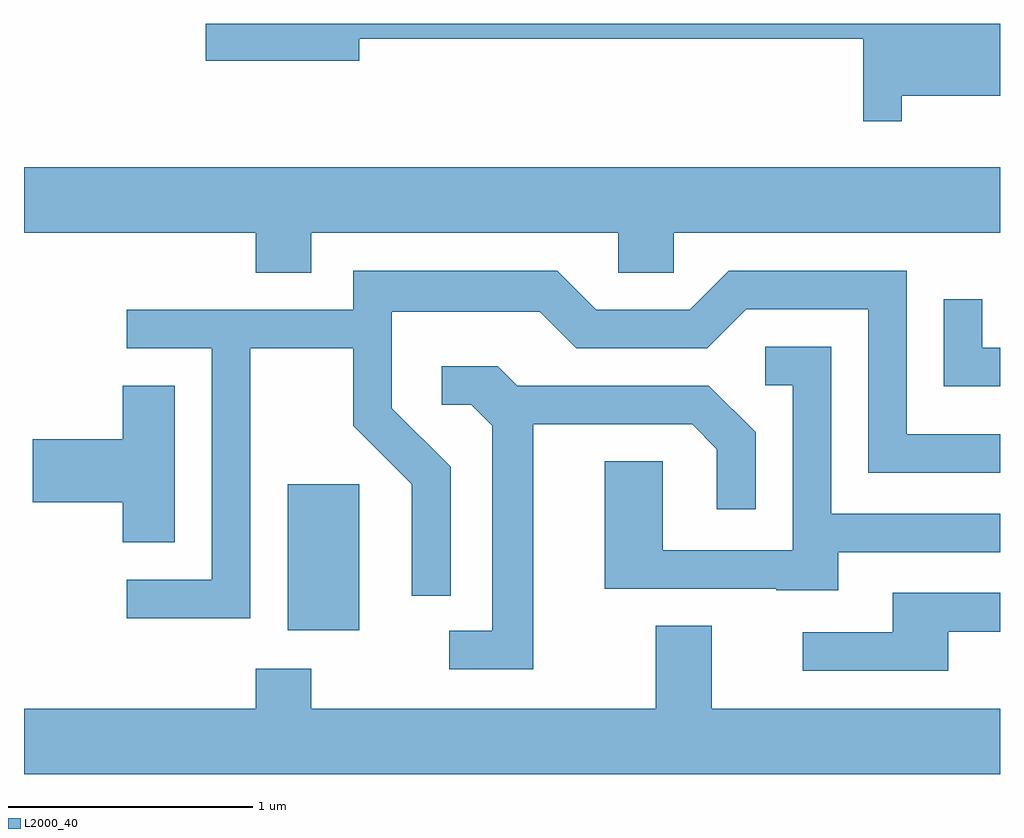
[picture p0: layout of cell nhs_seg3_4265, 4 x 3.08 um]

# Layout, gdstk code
import gdstk
lib = gdstk.Library(unit=1e-6, precision=1e-09)
def R(c, l, rs):  # rectangles x0, y0, x1, y1
    for r in rs: c.add(gdstk.rectangle(r[:2], r[2:], *l))
def P(c, l, *ps):  # polygons
    for p in ps: c.add(gdstk.Polygon(p, *l))
L2000_40 = (2000, 40)

nhs_seg3_4265 = lib.new_cell('nhs_seg3_4265')
R(nhs_seg3_4265, L2000_40, [(310.691,1215.406,310.984,1216.004)])
P(nhs_seg3_4265, L2000_40, [(313.209,1217.596),(313.611,1217.596),(313.611,1217.892),(310.356,1217.892),(310.356,1217.741),(310.984,1217.741),(310.984,1217.831),(313.051,1217.831),(313.051,1217.493),(313.209,1217.493)],
  [(310.789,1217.036),(312.046,1217.036),(312.046,1216.871),(312.274,1216.871),(312.274,1217.036),(313.611,1217.036),(313.611,1217.304),(309.611,1217.304),(309.611,1217.036),(310.561,1217.036),(310.561,1216.871),(310.789,1216.871)],
  [(310.539,1216.561),(310.961,1216.561),(310.961,1216.244),(311.201,1216.004),(311.201,1215.548),(311.359,1215.548),(311.359,1216.077),(311.119,1216.317),(311.119,1216.711),(311.724,1216.711),(311.874,1216.561),(312.412,1216.561),(312.572,1216.721),(313.071,1216.721),(313.071,1216.051),(313.611,1216.051),(313.611,1216.209),(313.229,1216.209),(313.229,1216.879),(312.499,1216.879),(312.339,1216.719),(311.957,1216.719),(311.797,1216.879),(310.961,1216.879),(310.961,1216.719),(310.033,1216.719),(310.033,1216.561),(310.381,1216.561),(310.381,1215.614),(310.033,1215.614),(310.033,1215.456),(310.539,1215.456)],
  [(313.611,1216.564),(313.539,1216.564),(313.539,1216.763),(313.381,1216.763),(313.381,1216.406),(313.611,1216.406)],
  [(312.949,1215.726),(313.611,1215.726),(313.611,1215.884),(312.919,1215.884),(312.919,1216.569),(312.648,1216.569),(312.648,1216.411),(312.761,1216.411),(312.761,1215.734),(312.229,1215.734),(312.229,1216.099),(311.991,1216.099),(311.991,1215.576),(312.695,1215.576),(312.695,1215.571),(312.949,1215.571)],
  [(311.699,1216.251),(312.349,1216.251),(312.451,1216.149),(312.451,1215.903),(312.609,1215.903),(312.609,1216.217),(312.417,1216.409),(311.632,1216.409),(311.552,1216.489),(311.323,1216.489),(311.323,1216.331),(311.444,1216.331),(311.531,1216.244),(311.531,1215.404),(311.353,1215.404),(311.353,1215.246),(311.699,1215.246)],
  [(310.229,1216.409),(310.016,1216.409),(310.016,1216.189),(309.646,1216.189),(309.646,1215.931),(310.016,1215.931),(310.016,1215.766),(310.229,1215.766)],
  [(313.399,1215.401),(313.611,1215.401),(313.611,1215.559),(313.171,1215.559),(313.171,1215.399),(312.803,1215.399),(312.803,1215.241),(313.399,1215.241)],
  [(313.611,1215.084),(312.429,1215.084),(312.429,1215.424),(312.201,1215.424),(312.201,1215.084),(310.789,1215.084),(310.789,1215.249),(310.561,1215.249),(310.561,1215.084),(309.611,1215.084),(309.611,1214.816),(313.611,1214.816)])

lib.write_gds('nhs_seg3_4265.gds')
